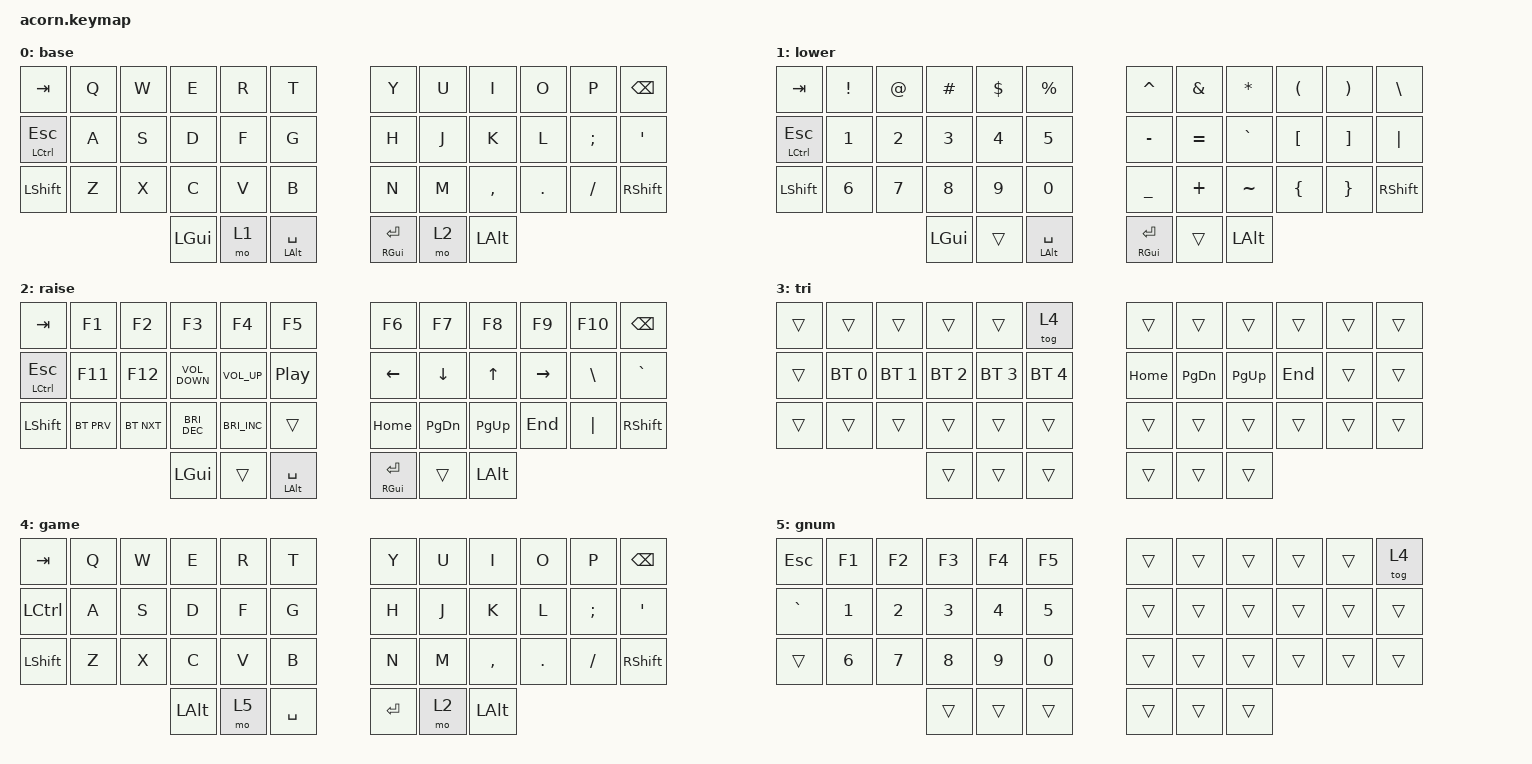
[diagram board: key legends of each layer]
#include <behaviors.dtsi>
#include <dt-bindings/zmk/bt.h>
#include <dt-bindings/zmk/keys.h>
#include <dt-bindings/zmk/matrix_transform.h>

/* Disable rotary encoders (acorn has no hardware encoders) */
&left_encoder {
	status = "disabled";
};

&right_encoder {
	status = "disabled";
};

/ {
    default_transform: keymap_transform0 {
        compatible = "zmk,matrix-transform";
        columns = <6>;
        rows = <4>;
        map = <
            RC(0,0) RC(0,1) RC(0,2) RC(0,3) RC(0,4) RC(0,5)      RC(0,6) RC(0,7) RC(0,8) RC(0,9) RC(0,10) RC(0,11)
            RC(1,0) RC(1,1) RC(1,2) RC(1,3) RC(1,4) RC(1,5)      RC(1,6) RC(1,7) RC(1,8) RC(1,9) RC(1,10) RC(1,11)
            RC(2, 0) RC(2,1) RC(2,2) RC(2,3) RC(2,4) RC(2,5)     RC(2,6) RC(2, 7) RC(2,8) RC(2,9) RC(2,10) RC(2,11)
                                     RC(3,0) RC(3,1) RC(3,2)     RC(3,3) RC(3,4) RC(3,5)
        >;
    };

    combos {
        compatible = "zmk,combos";

        combo_studio_unlock {
            timeout-ms = <50>;
            key-positions = <0 1>;
            bindings = <&studio_unlock>;
            layers = <0 1 2 3>;
        };

        hyper-key {
            bindings = <&kp LA(LG(LEFT_CONTROL))>;
            key-positions = <19 21 20>;
            layers = <0 1 2 3>;
        };

        tab {
            bindings = <&kp TAB>;
            key-positions = <2 3 4>;
            layers = <0 1 2 3>;
        };

        backspace {
            bindings = <&kp BSPC>;
            key-positions = <8 9 7>;
            layers = <0 1 2 3>;
        };
    };

    behaviors {
        hml: hml {
            compatible = "zmk,behavior-hold-tap";
            label = "HML";
            bindings = <&kp>, <&kp>;

            #binding-cells = <2>;
            tapping-term-ms = <280>;
            quick-tap-ms = <175>;
            require-prior-idle-ms = <150>;
            hold-trigger-key-positions = <2 3 4 5 13 14 15 16 17 25 26 27 28 29 1 36 37 38 0 12 24>;
            hold-trigger-on-release;
            flavor = "balanced";
        };

        hmr: hmr {
            compatible = "zmk,behavior-hold-tap";
            label = "HMR";
            bindings = <&kp>, <&kp>;

            #binding-cells = <2>;
            tapping-term-ms = <280>;
            quick-tap-ms = <175>;
            require-prior-idle-ms = <150>;
            flavor = "balanced";
            hold-trigger-key-positions = <6 7 8 9 10 18 19 20 21 22 30 31 32 33 34 39 40 41 23 35 11>;
            hold-trigger-on-release;
        };

        hma: hma {
            compatible = "zmk,behavior-hold-tap";
            label = "HMA";
            bindings = <&kp>, <&kp>;

            #binding-cells = <2>;
            tapping-term-ms = <200>;
            quick-tap-ms = <175>;
            flavor = "balanced";
            hold-trigger-key-positions = <6 7 8 9 10 18 19 20 21 22 30 31 32 33 34 39 40 41 23 35 11 0 1 2 3 4 5 12 13 14 15 16 17 24 25 26 27 28 29 36 37 38>;
            hold-trigger-on-release;
            require-prior-idle-ms = <150>;
        };

        tp: tp {
            compatible = "zmk,behavior-hold-tap";
            label = "TP";
            bindings = <&kp>, <&kp>;

            #binding-cells = <2>;
            tapping-term-ms = <200>;
            flavor = "tap-preferred";
            require-prior-idle-ms = <0>;
            quick-tap-ms = <200>;
        };
    };

    keymap {
        compatible = "zmk,keymap";

        default_layer {
            display-name = "base";

            // ------------------------------------------------------------------------------------------
            // |  TAB |  Q  |  W  |  E  |  R  |  T  |   |  Y  |  U   |  I  |  O  |  P  | BSPC |
            // | CTRL |  A  |  S  |  D  |  F  |  G  |   |  H  |  J   |  K  |  L  |  ;  |  '   |
            // | SHFT |  Z  |  X  |  C  |  V  |  B  |   |  N  |  M   |  ,  |  .  |  /  | ESC  |
            //                    | GUI | LWR | SPC |   | ENT | RSE  | ALT |

            bindings = <
&kp TAB           &kp Q  &kp W  &kp E     &kp R  &kp T               &kp Y  &kp U                &kp I  &kp O      &kp P    &kp BSPC
&mt LCTRL ESCAPE  &kp A  &kp S  &kp D     &kp F  &kp G                      &kp H                &kp J  &kp K      &kp L    &kp SEMI  &kp SQT
&kp LSHFT         &kp Z  &kp X  &kp C     &kp V  &kp B                      &kp N                &kp M  &kp COMMA  &kp DOT  &kp FSLH  &kp RIGHT_SHIFT
                                &kp LGUI  &mo 1  &tp LEFT_ALT SPACE         &tp RIGHT_GUI ENTER  &mo 2  &kp LALT
            >;
        };

        lower_layer {
            display-name = "lower";

            // -----------------------------------------------------------------------------------------
            // |  TAB |  1  |  2  |  3  |  4  |  5  |   |  6  |  7  |  8  |  9  |  0  | BSPC |
            // | BTCLR| BT1 | BT2 | BT3 | BT4 | BT5 |   | LFT | DWN |  UP | RGT |     |      |
            // | SHFT |     |     |     |     |     |   |     |     |     |     |     |      |
            //                    | GUI |     | SPC |   | ENT |     | ALT |

            bindings = <
&kp TAB        &kp EXCL      &kp AT        &kp HASH      &kp DOLLAR    &kp PERCENT         &kp CARET  &kp AMPS              &kp ASTERISK  &kp LEFT_PARENTHESIS  &kp RIGHT_PARENTHESIS  &kp BACKSLASH
&mt LCTRL ESC  &kp NUMBER_1  &kp NUMBER_2  &kp NUMBER_3  &kp NUMBER_4  &kp N5                         &kp MINUS             &kp EQUAL     &kp GRAVE             &kp LEFT_BRACKET       &kp RIGHT_BRACKET  &kp PIPE
&kp LSHFT      &kp NUMBER_6  &kp N7        &kp N8        &kp N9        &kp N0                         &kp UNDER             &kp PLUS      &kp TILDE             &kp LEFT_BRACE         &kp RIGHT_BRACE    &kp RIGHT_SHIFT
                                           &kp LGUI      &trans        &tp LEFT_ALT SPACE             &tp RIGHT_GUI RETURN  &trans        &kp LALT
            >;
        };

        raise_layer {
            display-name = "raise";

            // -----------------------------------------------------------------------------------------
            // |  TAB |  !  |  @  |  #  |  $  |  %  |   |  ^  |  &  |  *  |  (  |  )  | BSPC |
            // | CTRL |     |     |     |     |     |   |  -  |  =  |  [  |  ]  |  \  |  `   |
            // | SHFT |     |     |     |     |     |   |  _  |  +  |  {  |  }  | "|" |  ~   |
            //                    | GUI |     | SPC |   | ENT |     | ALT |

            bindings = <
&kp TAB        &kp F1      &kp F2      &kp F3                &kp F4                &kp F5              &kp F6  &kp F7                &kp F8         &kp F9        &kp F10    &kp BSPC
&mt LCTRL ESC  &kp F11     &kp F12     &kp C_VOLUME_DOWN     &kp C_VOLUME_UP       &kp C_PLAY_PAUSE            &kp LEFT              &kp DOWN       &kp UP_ARROW  &kp RIGHT  &kp BSLH  &kp GRAVE
&kp LSHFT      &bt BT_PRV  &bt BT_NXT  &kp C_BRIGHTNESS_DEC  &kp C_BRIGHTNESS_INC  &trans                      &kp HOME              &kp PAGE_DOWN  &kp PAGE_UP   &kp END    &kp PIPE  &kp RIGHT_SHIFT
                                       &kp LGUI              &trans                &tp LEFT_ALT SPACE          &tp RIGHT_GUI RETURN  &trans         &kp LALT
            >;
        };

        tri_layer {
            // LWR+RSE held together; &tog 4 (T position) toggles the gaming layer on.
            bindings = <
&trans  &trans        &trans        &trans        &trans        &tog 4        &trans  &trans    &trans         &trans       &trans   &trans
&trans  &bt BT_SEL 0  &bt BT_SEL 1  &bt BT_SEL 2  &bt BT_SEL 3  &bt BT_SEL 4          &kp HOME  &kp PAGE_DOWN  &kp PAGE_UP  &kp END  &trans  &trans
&trans  &trans        &trans        &trans        &trans        &trans                &trans    &trans         &trans       &trans   &trans  &trans
                                    &trans        &trans        &trans                &trans    &trans         &trans
            >;

            label = "tri";
        };

        gaming_layer {
            display-name = "game";

            // Plain keys only (no hold-taps) so game input is instant.
            // Everything essential is on the left half: right hand stays on the mouse.
            // Hold GNUM (left middle thumb) for ESC / numbers / F-keys, see gaming_num_layer.
            // -----------------------------------------------------------------------------------------
            // |  TAB |  Q  |  W  |  E  |  R  |  T  |   |  Y  |  U  |  I  |  O  |  P  | BSPC |
            // | CTRL |  A  |  S  |  D  |  F  |  G  |   |  H  |  J  |  K  |  L  |  ;  |  '   |
            // | SHFT |  Z  |  X  |  C  |  V  |  B  |   |  N  |  M  |  ,  |  .  |  /  | SHFT |
            //                    | ALT | GNUM | SPC |  | ENT | RSE | ALT |

            bindings = <
&kp TAB    &kp Q  &kp W  &kp E     &kp R  &kp T         &kp Y      &kp U  &kp I      &kp O    &kp P     &kp BSPC
&kp LCTRL  &kp A  &kp S  &kp D     &kp F  &kp G                    &kp H  &kp J      &kp K    &kp L     &kp SEMI  &kp SQT
&kp LSHFT  &kp Z  &kp X  &kp C     &kp V  &kp B                    &kp N  &kp M      &kp COMMA  &kp DOT  &kp FSLH  &kp RIGHT_SHIFT
                         &kp LALT  &mo 5  &kp SPACE     &kp ENTER  &mo 2  &kp LALT
            >;
        };

        gaming_num_layer {
            display-name = "gnum";

            // Held from the gaming layer's left middle thumb. Weapon numbers on the
            // home row, F-keys top, ESC and ` (console) on the outer column.
            // EXIT (top-right) is &tog 4 — leaves the gaming layer.
            // -----------------------------------------------------------------------------------------
            // | ESC |  F1 |  F2 |  F3 |  F4 |  F5 |   |     |     |     |     |     | EXIT |
            // |  `  |  1  |  2  |  3  |  4  |  5  |   |     |     |     |     |     |      |
            // |     |  6  |  7  |  8  |  9  |  0  |   |     |     |     |     |     |      |
            //                   |     |     |     |   |     |     |     |
            bindings = <
&kp ESC    &kp F1  &kp F2  &kp F3  &kp F4  &kp F5      &trans  &trans  &trans  &trans  &trans  &tog 4
&kp GRAVE  &kp N1  &kp N2  &kp N3  &kp N4  &kp N5              &trans  &trans  &trans  &trans  &trans  &trans
&trans     &kp N6  &kp N7  &kp N8  &kp N9  &kp N0              &trans  &trans  &trans  &trans  &trans  &trans
                           &trans  &trans  &trans      &trans  &trans  &trans
            >;
        };
    };

    conditional_layers {
        compatible = "zmk,conditional-layers";

        tri {
            if-layers = <1 2>;
            then-layer = <3>;
        };
    };
};
